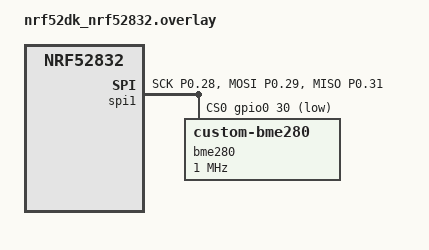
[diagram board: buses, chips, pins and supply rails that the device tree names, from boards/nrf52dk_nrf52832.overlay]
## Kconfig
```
# Copyright (c) 2021 Nordic Semiconductor ASA
# SPDX-License-Identifier: Apache-2.0
#
# This file is the application Kconfig entry point. All application Kconfig
# options can be defined here or included via other application Kconfig files.
# You can browse these options using the west targets menuconfig (terminal) or
# guiconfig (GUI).

menu "Zephyr"
source "Kconfig.zephyr"
endmenu

module = APP
module-str = APP
source "subsys/logging/Kconfig.template.log_config"
```

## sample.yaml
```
sample:
  description: nRF Connect SDK Intermediate Course by Nordic Developer Academy (https://academy.nordicsemi.com/)
  name: nRF Connect SDK Intermediate Course - Lesson 7 Exercise 1 Solution
  
common: 
    sysbuild: true
    integration_platforms: 
      - nrf52dk/nrf52832
      - nrf52833dk/nrf52833
      - nrf52840dk/nrf52840
      - nrf9160dk/nrf9160
      - nrf9160dk/nrf9160/ns
      - nrf9161dk/nrf9161
      - nrf9161dk/nrf9161/ns
      - nrf9151dk/nrf9151
      - nrf9151dk/nrf9151/ns
      - nrf5340dk/nrf5340/cpuapp
      - nrf5340dk/nrf5340/cpuapp/ns
      - nrf54l15dk/nrf54l15/cpuapp
      - nrf54lc10dk/nrf54lc10a/cpuapp
      - nrf54l15dk/nrf54l15/cpuapp/ns
      - nrf54ls05dk/nrf54ls05b/cpuapp
      - nrf54lm20dk/nrf54lm20a/cpuapp
      - nrf7002dk/nrf5340/cpuapp
      - nrf7002dk/nrf5340/cpuapp/ns
    platform_allow:
      - nrf52dk/nrf52832
      - nrf52833dk/nrf52833
      - nrf52840dk/nrf52840
      - nrf9160dk/nrf9160
      - nrf9160dk/nrf9160/ns
      - nrf9161dk/nrf9161
      - nrf9161dk/nrf9161/ns
      - nrf9151dk/nrf9151
      - nrf9151dk/nrf9151/ns
      - nrf5340dk/nrf5340/cpuapp
      - nrf5340dk/nrf5340/cpuapp/ns
      - nrf54l15dk/nrf54l15/cpuapp
      - nrf54lc10dk/nrf54lc10a/cpuapp
      - nrf54l15dk/nrf54l15/cpuapp/ns
      - nrf54ls05dk/nrf54ls05b/cpuapp
      - nrf54lm20dk/nrf54lm20a/cpuapp
      - nrf7002dk/nrf5340/cpuapp
      - nrf7002dk/nrf5340/cpuapp/ns   
    
tests:
  ncs_inter.l7.e1_sol:
    harness: console
    harness_config:
      type: one_line
      regex:
        - "Lesson 7 - Exercise 1 started"
    timeout: 15
```

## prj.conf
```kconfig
CONFIG_LOG=y

CONFIG_CBPRINTF_FP_SUPPORT=y
CONFIG_RESET_ON_FATAL_ERROR=n

# STEP 8.2 - Enable Kconfigs 
CONFIG_SENSOR=y
CONFIG_CUSTOM_BME280=y
```

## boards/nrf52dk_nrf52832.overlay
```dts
&i2c0 {	status = "disabled";};
&spi0 {	status = "disabled";};
&i2c1 {	status = "disabled";};
	
&spi1 {
    compatible = "nordic,nrf-spi"; //using SPI as per ERRATA 58
	status = "okay";
	pinctrl-0 = <&spi1_default>;
	pinctrl-1 = <&spi1_sleep>;
	pinctrl-names = "default", "sleep";
	cs-gpios = <&gpio0 30 GPIO_ACTIVE_LOW>;

/* STEP 8.3 Create bme280 node */
	bme280: bme280@0 {
		compatible = "zephyr,custom-bme280";
		reg = <0>;
		spi-max-frequency = <1000000>; 
	};
};


&pinctrl {
	spi1_default: spi1_default {
		group1 {
				psels = <NRF_PSEL(SPIM_SCK, 0, 28)>,
						<NRF_PSEL(SPIM_MOSI, 0, 29)>,
						<NRF_PSEL(SPIM_MISO, 0, 31)>;
		};
	};

	spi1_sleep: spi1_sleep {
		group1 {
				psels = <NRF_PSEL(SPIM_SCK, 0, 28)>,
						<NRF_PSEL(SPIM_MOSI, 0, 29)>,
						<NRF_PSEL(SPIM_MISO, 0, 31)>;
				low-power-enable;
		};
	};
};
```

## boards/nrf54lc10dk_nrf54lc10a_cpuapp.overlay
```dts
&spi21 {
	compatible = "nordic,nrf-spim";
	status = "okay";
	pinctrl-0 = <&spi21_default>;
	pinctrl-1 = <&spi21_sleep>;
	pinctrl-names = "default", "sleep";
	cs-gpios = <&gpio1 8 GPIO_ACTIVE_LOW>;

	/* STEP 8.3 Create bme280 node */
	bme280: bme280@0 {
		compatible = "zephyr,custom-bme280";
		reg = <0>;
		spi-max-frequency = <1000000>; // 1MHz
	};
};

&pinctrl {
	spi21_default: spi21_default {
		group1 {
			psels = <NRF_PSEL(SPIM_SCK, 1, 11)>,
			        <NRF_PSEL(SPIM_MOSI, 1, 13)>,
			        <NRF_PSEL(SPIM_MISO, 1, 12)>;
		};
	};

	spi21_sleep: spi21_sleep {
		group1 {
			psels = <NRF_PSEL(SPIM_SCK, 1, 11)>,
			        <NRF_PSEL(SPIM_MOSI, 1, 13)>,
			        <NRF_PSEL(SPIM_MISO, 1, 12)>;
			low-power-enable;
		};
	};
};
```

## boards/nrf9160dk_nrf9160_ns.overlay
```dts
#include <samples/cellular/nrf91_no_bootloader_partitions.dtsi>
#include <samples/cellular/nrf91_sram_partitions.dtsi>

&i2c0 {	status = "disabled";};
&spi0 {	status = "disabled";};
&i2c1 {	status = "disabled";};
&uart1 { status = "disabled";};
	
&spi1 {
    compatible = "nordic,nrf-spim";
	status = "okay";
	pinctrl-0 = <&spi1_default>;
	pinctrl-1 = <&spi1_sleep>;
	pinctrl-names = "default", "sleep";
	cs-gpios = <&gpio0 18 GPIO_ACTIVE_LOW>;

/* STEP 8.3 Create bme280 node */
	bme280: bme280@0 {
		compatible = "zephyr,custom-bme280";
		reg = <0>;
		spi-max-frequency = <1000000>; 
	};
};

&pinctrl {
	spi1_default: spi1_default {
		group1 {
				psels = <NRF_PSEL(SPIM_SCK, 0, 16)>,
						<NRF_PSEL(SPIM_MOSI, 0, 17)>,
						<NRF_PSEL(SPIM_MISO, 0, 19)>;
		};
	};

	spi1_sleep: spi1_sleep {
		group1 {
				psels = <NRF_PSEL(SPIM_SCK, 0, 16)>,
						<NRF_PSEL(SPIM_MOSI, 0, 17)>,
						<NRF_PSEL(SPIM_MISO, 0, 19)>;
				low-power-enable;
		};
	};
};
```

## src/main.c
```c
/*
 * Copyright (c) 2021 Nordic Semiconductor ASA
 * SPDX-License-Identifier: Apache-2.0
 */

 #include <zephyr/kernel.h>
 #include <zephyr/drivers/sensor.h>
 #include <zephyr/logging/log.h>
 
 LOG_MODULE_REGISTER(Lesson7_Exercise1, LOG_LEVEL_INF);
 
 /* STEP 9.1 - Get the device structure from the node label */
 const struct device * dev = DEVICE_DT_GET(DT_NODELABEL(bme280));
 
 int main(void)
 {
     int err;
 
     LOG_INF("Lesson 7 - Exercise 1 started");
 
     /* STEP 9.2 - Define variables to store the temperature, pressure and humidity */
     struct sensor_value temp_val, press_val, hum_val;
 
     err = device_is_ready(dev);
     if (!err) {
         LOG_INF("Error: SPI device is not ready, err: %d", err);
         return 0;
     }
 
     while (1) {
         /* STEP 9.3 - Continuously read out sensor data using the sensor API calls */
         err = sensor_sample_fetch(dev);
         if (err < 0) {
             LOG_ERR("Could not fetch sample (%d)", err);
             return 0;
         }
 
         if (sensor_channel_get(dev, SENSOR_CHAN_AMBIENT_TEMP, &temp_val)) {
             LOG_ERR("Could not get sample");
             return 0;
         }
         
         if (sensor_channel_get(dev, SENSOR_CHAN_PRESS, &press_val)) {
             LOG_ERR("Could not get sample");
             return 0;
         }
     
         if (sensor_channel_get(dev, SENSOR_CHAN_HUMIDITY, &hum_val)) {
             LOG_ERR("Could not get sample");
             return 0;
         }
 
         LOG_INF("Compensated temperature value: %d", temp_val.val1);
         LOG_INF("Compensated pressure value: %d", press_val.val1);
         LOG_INF("Compensated humidity value: %d", hum_val.val1);
         
         k_sleep(K_MSEC(1000));
     }
     
     return 0;
 }
```
